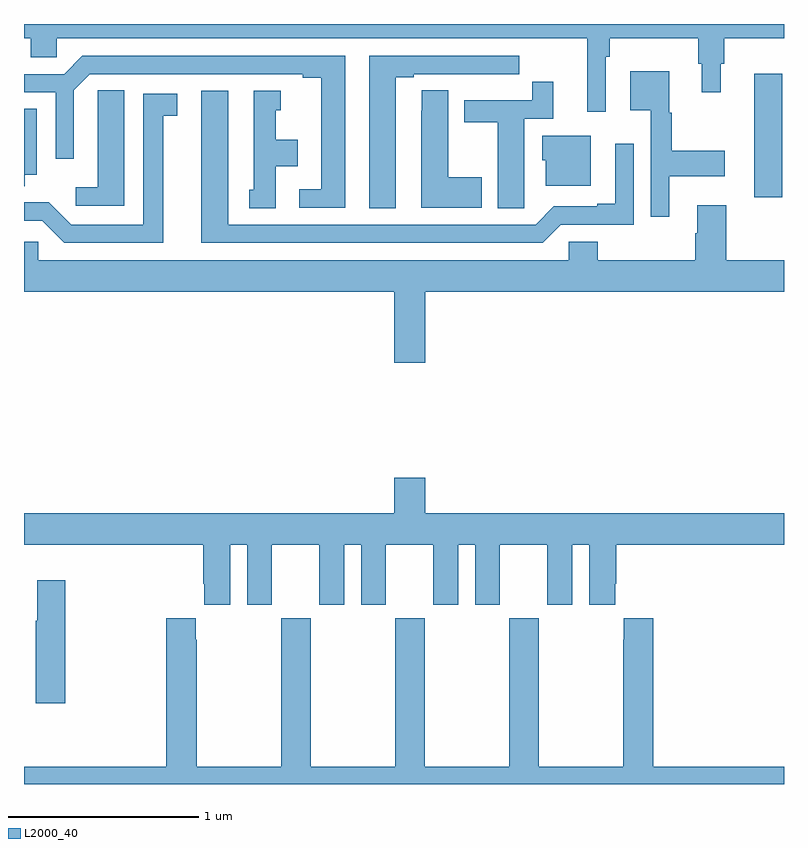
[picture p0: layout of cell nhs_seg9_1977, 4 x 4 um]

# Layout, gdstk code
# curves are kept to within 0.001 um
import gdstk
lib = gdstk.Library(unit=1e-6, precision=1e-09)
def R(c, l, rs):  # rectangles x0, y0, x1, y1
    for r in rs: c.add(gdstk.rectangle(r[:2], r[2:], *l))
def P(c, l, *ps):  # polygons
    for p in ps: c.add(gdstk.Polygon(p, *l))
L2000_40 = (2000, 40)

nhs_seg9_1977 = lib.new_cell('nhs_seg9_1977')
R(nhs_seg9_1977, L2000_40, [(226.844,1191.588,226.991,1192.237)])
P(nhs_seg9_1977, L2000_40, [(226.549,1192.29),(226.568,1192.29),(226.568,1192.14),(226.666,1192.14),(226.666,1192.29),(226.685,1192.29),(226.685,1192.424),(227,1192.424),(227,1192.5),(223,1192.5),(223,1192.424),(223.035,1192.424),(223.035,1192.326),(223.173,1192.326),(223.173,1192.424),(225.965,1192.424),(225.965,1192.038),(226.062,1192.038),(226.062,1192.328),(226.082,1192.328),(226.082,1192.424),(226.549,1192.424)],
  [(224.692,1192.332),(223.307,1192.332),(223.211,1192.236),(223,1192.236),(223,1192.14),(223.167,1192.14),(223.167,1191.792),(223.263,1191.792),(223.263,1192.152),(223.347,1192.236),(224.468,1192.236),(224.468,1192.216),(224.564,1192.216),(224.564,1191.63),(224.448,1191.63),(224.448,1191.534),(224.692,1191.534)],
  [(224.956,1192.221),(225.052,1192.221),(225.052,1192.236),(225.328,1192.236),(225.328,1192.235),(225.494,1192.235),(225.494,1192.236),(225.607,1192.236),(225.607,1192.332),(224.816,1192.332),(224.816,1191.529),(224.956,1191.529)],
  [(226.396,1191.698),(226.687,1191.698),(226.687,1191.833),(226.408,1191.833),(226.408,1192.032),(226.396,1192.032),(226.396,1192.252),(226.19,1192.252),(226.19,1192.046),(226.299,1192.046),(226.299,1191.486),(226.396,1191.486)],
  [(225.633,1191.64),(225.634,1191.64),(225.634,1192.002),(225.785,1192.002),(225.785,1192.195),(225.676,1192.195),(225.676,1192.098),(225.317,1192.098),(225.317,1191.982),(225.494,1191.982),(225.494,1191.529),(225.633,1191.529)],
  [(225.409,1191.693),(225.232,1191.693),(225.232,1192.151),(225.093,1192.151),(225.093,1192.043),(225.092,1192.043),(225.092,1191.533),(225.409,1191.533)],
  [(223.528,1192.151),(223.389,1192.151),(223.389,1192.043),(223.388,1192.043),(223.388,1191.64),(223.272,1191.64),(223.272,1191.543),(223.528,1191.543)],
  [(225.825,1191.444),(226.209,1191.444),(226.209,1191.871),(226.112,1191.871),(226.112,1191.553),(226.016,1191.553),(226.016,1191.54),(225.789,1191.54),(225.693,1191.444),(224.074,1191.444),(224.074,1192.15),(223.934,1192.15),(223.934,1191.348),(225.729,1191.348)],
  [(224.326,1191.752),(224.44,1191.752),(224.44,1191.892),(224.326,1191.892),(224.326,1192.047),(224.35,1192.047),(224.35,1192.15),(224.21,1192.15),(224.21,1191.627),(224.186,1191.627),(224.186,1191.529),(224.326,1191.529)],
  [(223.732,1192.018),(223.807,1192.018),(223.807,1192.134),(223.628,1192.134),(223.628,1191.444),(223.248,1191.444),(223.13,1191.562),(223,1191.561),(223,1191.465),(223.095,1191.465),(223.212,1191.348),(223.732,1191.348)],
  [(223.003,1191.707),(223.066,1191.707),(223.066,1192.055),(223,1192.055),(223,1191.646),(223.003,1191.646)],
  [(225.982,1191.913),(225.728,1191.913),(225.728,1191.783),(225.746,1191.783),(225.746,1191.65),(225.982,1191.65)],
  [(225.112,1191.092),(227,1191.092),(227,1191.256),(226.697,1191.256),(226.697,1191.547),(226.544,1191.547),(226.544,1191.398),(226.532,1191.398),(226.532,1191.256),(226.019,1191.256),(226.019,1191.354),(225.867,1191.354),(225.867,1191.256),(223.074,1191.256),(223.074,1191.354),(223,1191.354),(223,1191.092),(224.948,1191.092),(224.948,1190.718),(225.112,1190.718)],
  [(224.086,1189.76),(224.174,1189.76),(224.174,1189.443),(224.305,1189.443),(224.305,1189.76),(224.555,1189.76),(224.555,1189.443),(224.686,1189.443),(224.686,1189.76),(224.774,1189.76),(224.774,1189.443),(224.905,1189.443),(224.905,1189.76),(225.155,1189.76),(225.155,1189.443),(225.286,1189.443),(225.286,1189.76),(225.374,1189.76),(225.374,1189.443),(225.505,1189.443),(225.505,1189.76),(225.755,1189.76),(225.755,1189.443),(225.886,1189.443),(225.886,1189.76),(225.974,1189.76),(225.974,1189.443),(226.111,1189.443),(226.111,1189.555),(226.118,1189.555),(226.118,1189.76),(227,1189.76),(227,1189.924),(225.112,1189.924),(225.112,1190.113),(224.948,1190.113),(224.948,1189.924),(223,1189.924),(223,1189.76),(223.943,1189.76),(223.943,1189.555),(223.949,1189.555),(223.949,1189.443),(224.086,1189.443)],
  [(223.217,1189.573),(223.07,1189.573),(223.07,1189.36),(223.063,1189.36),(223.063,1188.924),(223.217,1188.924)],
  [(227,1188.592),(226.313,1188.592),(226.313,1189.372),(226.157,1189.372),(226.157,1189.259),(226.153,1189.259),(226.153,1188.592),(225.708,1188.592),(225.708,1189.372),(225.553,1189.372),(225.553,1188.592),(225.108,1188.592),(225.108,1189.372),(224.953,1189.372),(224.953,1188.592),(224.508,1188.592),(224.508,1189.372),(224.353,1189.372),(224.353,1188.592),(223.908,1188.592),(223.908,1189.259),(223.903,1189.259),(223.903,1189.372),(223.748,1189.372),(223.748,1188.592),(223,1188.592),(223,1188.5),(227,1188.5)])

lib.write_gds('nhs_seg9_1977.gds')
